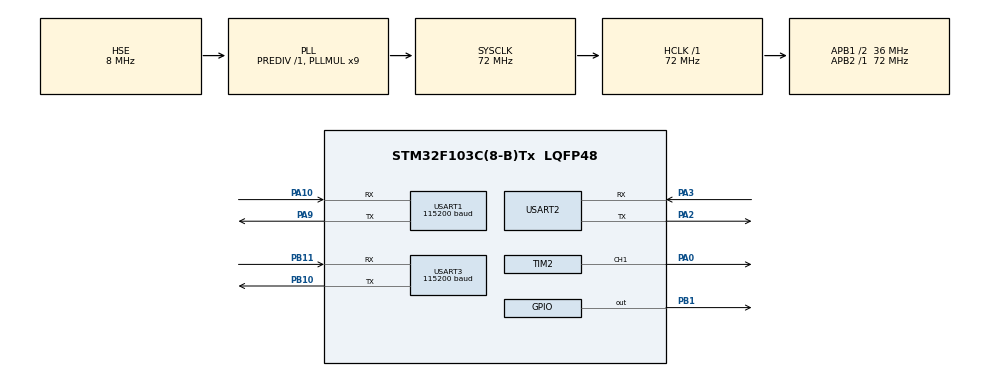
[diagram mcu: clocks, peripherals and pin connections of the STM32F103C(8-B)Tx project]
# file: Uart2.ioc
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Mcu.Family=STM32F1
Mcu.Name=STM32F103C(8-B)Tx
Mcu.Package=LQFP48
NVIC.PriorityGroup=NVIC_PRIORITYGROUP_4
NVIC.TIM2_IRQn=true\:0\:0\:false\:false\:true\:true\:true
NVIC.USART1_IRQn=true\:2\:0\:true\:false\:true\:true\:true
NVIC.USART2_IRQn=true\:3\:0\:true\:false\:true\:true\:true
NVIC.USART3_IRQn=true\:2\:0\:true\:false\:true\:true\:true
PA0-WKUP.Signal=S_TIM2_CH1_ETR
PA10.Mode=Asynchronous
PA10.Signal=USART1_RX
PA13.Mode=Serial_Wire
PA13.Signal=SYS_JTMS-SWDIO
PA14.Mode=Serial_Wire
PA14.Signal=SYS_JTCK-SWCLK
PA2.Mode=Asynchronous
PA2.Signal=USART2_TX
PA3.Mode=Asynchronous
PA3.Signal=USART2_RX
PA9.Mode=Asynchronous
PA9.Signal=USART1_TX
PB1.Signal=GPIO_Output
PB10.Mode=Asynchronous
PB10.Signal=USART3_TX
PB11.Mode=Asynchronous
PB11.Signal=USART3_RX
PD0-OSC_IN.Mode=HSE-External-Oscillator
PD0-OSC_IN.Signal=RCC_OSC_IN
PD1-OSC_OUT.Mode=HSE-External-Oscillator
PD1-OSC_OUT.Signal=RCC_OSC_OUT
ProjectManager.HeapSize=0x200
ProjectManager.StackSize=0x400
ProjectManager.TargetToolchain=MDK-ARM V5.32
RCC.AHBFreq_Value=72000000
RCC.APB1CLKDivider=RCC_HCLK_DIV2
RCC.APB1Freq_Value=36000000
RCC.APB1TimFreq_Value=72000000
RCC.APB2Freq_Value=72000000
RCC.APB2TimFreq_Value=72000000
RCC.HCLKFreq_Value=72000000
RCC.PLLMUL=RCC_PLL_MUL9
RCC.PLLSourceVirtual=RCC_PLLSOURCE_HSE
RCC.SYSCLKFreq_VALUE=72000000
RCC.SYSCLKSource=RCC_SYSCLKSOURCE_PLLCLK
RCC.USBFreq_Value=72000000
SH.S_TIM2_CH1_ETR.0=TIM2_CH1,PWM Generation1 CH1
TIM2.Channel-PWM\ Generation1\ CH1=TIM_CHANNEL_1
TIM2.OCPolarity_1=TIM_OCPOLARITY_HIGH
TIM2.Period=20000
TIM2.Prescaler=71
TIM2.TIM_MasterSlaveMode=TIM_MASTERSLAVEMODE_ENABLE
USART1.BaudRate=115200
USART1.VirtualMode=VM_ASYNC
USART2.VirtualMode=VM_ASYNC
USART3.BaudRate=115200
USART3.VirtualMode=VM_ASYNC
VP_TIM2_VS_ClockSourceINT.Mode=Internal
board=custom

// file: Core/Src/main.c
/* USER CODE BEGIN Header */
/**
  ******************************************************************************
  * @file           : main.c
  * @brief          : Main program body
  ******************************************************************************
  * @attention
  *
  * <h2><center>&copy; Copyright (c) 2021 STMicroelectronics.
  * All rights reserved.</center></h2>
  *
  * This software component is licensed by ST under BSD 3-Clause license,
  * the "License"; You may not use this file except in compliance with the
  * License. You may obtain a copy of the License at:
  *                        opensource.org/licenses/BSD-3-Clause
  *作者：王福涛   2022-01-01
  ******************************************************************************
  */
/* USER CODE END Header */
#include "main.h"
#include "tim.h"
#include "usart.h"
#include "gpio.h"

/* USER CODE BEGIN Includes */
#include <stdio.h>
#include <string.h>
#include "stm32f1xx_hal.h"
/* USER CODE END Includes */

void SystemClock_Config(void);

/* USER CODE BEGIN 0 */
char ID = 0x01;
char MAC[] =  {">MAC:[20-22-01-11-00-01]"};

char LS[8];

uint16_t CRC16; uint8_t CRCH; uint8_t CRCL;

uint8_t Uart1_RxBuff[8];
uint8_t Uart1_Rx_Length = 8;
uint8_t Uart1_Tx_Length ;

uint8_t Uart1_Rx_RST[2] = {0x01,0x06};
uint8_t Uart1_Rx_V[2] =   {0x01,0x03};
uint8_t Uart1_Rx_ITC[2] = {0x01,0x64};
uint8_t Uart1_Rx_ITI[4] = {0x01,0x65,0x00,0x00};

uint8_t Uart1_Rx_X[4] =   {0x01,0x67};
uint8_t Uart1_Rx_Xe_H[2] ={0x01,0x68};
uint8_t Uart1_Rx_Xe_L[2] ={0x01,0x69};
uint8_t Uart1_Rx_Xe_I[2] ={0x01,0x6A};
uint8_t Uart1_Rx_PXC[2]=  {0x01,0x6B};
uint8_t Uart1_Rx_PXI[2]=  {0x01,0x6C};
uint8_t Uart1_Rx_WLI[2] = {0x01,0x6D};
uint8_t Uart1_Rx_BLS[2]=  {0x01,0x6E};
uint8_t Uart1_Rx_BLI[2]=  {0x01,0x6F};
uint8_t Uart1_Rx_AVC[2] = {0x01,0x70};
uint8_t Uart1_Rx_AVI[2] = {0x01,0x71};
uint8_t Uart1_Rx_S1[2] =  {0x01,0x72};

uint8_t Uart1_Rx_XeG[8] = {0x01,0x80,0x00,0x00,0x00,0x00,0xFF,0xFF};
uint8_t Uart1_Rx_XeK[4] = {0x01,0x81,0x01};
uint8_t Uart1_Rx_XeI[2] = {0x01,0x82};

uint8_t Uart1_Rx_TEM[2] = {0x01,0x85};

uint8_t Uart1_Rx_S0[2] =  {0x01,0x86};
uint8_t Uart1_Rx_SL[2] =  {0x01,0x87};
uint8_t Uart1_Rx_SR[2] =  {0x01,0x88};

uint8_t Rx1Flag = 0;
uint8_t Rx2Flag = 0;
uint8_t Rx3Flag = 0;
char  uart1_mode = 0;
char  uart2_mode = 0;
char  uart3_mode = 0;

char  Xe_status = 0;
char  Xe_status_C = 0x00;

char  Xe_0_S = 0;
char  Xe_1_S = 1;
char  Xe_2_S = 1;

uint8_t aRxBuffer;			//??????
uint8_t Uart2_RxBuff3[3];
uint8_t Uart2_RxBuff3A[3];
uint8_t Uart2_RxBuff3B[3];
uint8_t Uart2_RxBuff3_0[3];
uint8_t Uart2_RxBuff3_1[3];
uint8_t Uart2_RxBuff3_2[3];
uint8_t Uart2_RxBuff3_3[3];
uint8_t Uart2_RxBuff3_4[3];
uint8_t Uart2_RxBuff3_5[3];
uint8_t Uart2_RxBuff4[4];
uint8_t Uart2_RxBuff4A[4];
uint8_t Uart2_RxBuff4_0[4];
uint8_t Uart2_RxBuff4_1[4];
uint8_t Uart2_RxBuff4_2[4];
uint8_t Uart2_RxBuff5[5];
uint8_t Uart2_RxBuff7[7];
uint8_t Uart2_RxBuff7_1[7];
uint8_t Uart2_RxBuff8[8];
uint8_t Uart2_RxBuff11[11];
uint8_t Uart2_RxBuff23[23];
uint8_t Uart2_RxBuff243[243];
uint8_t Uart2_RxBuff2063[2063];		//????
uint8_t Uart2_RxBuff4099[4099];
uint16_t Uart2_Rx_Length = 2063;		//??????
uint8_t Uart2_Tx_Length = 3;

//uint8_t Uart3_RxBuff22[22] = {};

char  T_uart2_RST[3] = {0x52,0xBD,0x3E};
char  T_uart2_V[3] =   {0x56,0x7E,0x3F};
char  T_uart2_ITC[7] = {0x69,0x00,0x00,};
char  T_uart2_ITI[4] = {0x3F,0x69,0x6E,0xD0};
char  T_uart2_S[3] =   {0x53,0x7D,0xFF};
char  T_uart2_X[3] =   {0x78,0x62,0xBF};
char  T_uart2_Xe_I[4] ={0x3F,0x30,0x54,0x10};
char  T_uart2_Xe[11] = {0x30};
char  T_uart2_PXC[11] ={0x50,0x00,0x03};
char  T_uart2_PXI[4] = {0x3F,0x50,0x7C,0x10};
char  T_uart2_WLI[4] = {0x3F,0x53,0x7D,0x50};
char  T_uart2_BLS[5] = {0x41,};
char  T_uart2_BLI[4] = {0x3F,0x41,0x70,0xD0};

char  T_uart2_XeK[4] = {0x31,0x01,0xE0,0xD5};

char  T_uart2_XeC0[4] ={0x31,0x00,0x20,0x14};//关氙灯
char  T_uart2_XeC1[4] ={0x31,0x01,0xE0,0xD5};//开氙灯
char  T_uart2_XeI[4] = {0x3F,0x31,0x94,0xD1};//查询氙灯

char  T_uart2_AVG[8] = {0x01,0x06,0x00,0x05,0x00,0x1E,0xFF,0xFF};

char  R_uart2_RST[3] = {0x06,0x42,0x3F};
char  R_uart2_V[3] =   {0x06,0x50,0x52};
char  R_uart2_V_T[50] ={0x01};
char  R_uart2_ITC[3] = {0x06,0x42,0x3F};
char  R_uart2_ITI[3] = {0x06,0x00,0x00};
char  R_uart2_S[4] =   {0x06,0xAA,0x55,0xBB};
char  R_uart2_X[1] =   {0x06};
char  R_uart2_Xe[3] =  {0x06,0x42,0x3F};
char  R_uart2_Xe_I[2] ={0x06,0x00};
char  R_uart2_PXC[3] = {0x06,0x42,0x3F};
char  R_uart2_PXI[1] = {0x06};
char  R_uart2_WLI[3] = {0x06,0xAA,0x55};
char  R_uart2_BLS[3] = {0x06,0x42,0x3F};
char  R_uart2_BLI[1] = {0x06};

char  R_uart2_XeG[3] = {0x06,0x42,0x3F};
char  R_uart2_XeK[3] = {0x06,0x42,0x3F};

char  R_uart2_XeI[4] = {0x06};

char  R_uart3_TEM[22] = {"Temp"};

char  R_uart2_AVG[8] = {0x01,0x06,0x00,0x05,0x00};

void PWM2200()
{
	__HAL_TIM_SET_COMPARE(&htim2,TIM_CHANNEL_1,2200);
}
void PWM1800()
{
__HAL_TIM_SET_COMPARE(&htim2,TIM_CHANNEL_1,1800);
}

uint16_t crc16(uint8_t *addr,uint8_t num);

/* USER CODE END 0 */

int main(void)
{

  /* MCU Configuration--------------------------------------------------------*/

  /* Reset of all peripherals, Initializes the Flash interface and the Systick. */
  HAL_Init();

  /* Configure the system clock */
  SystemClock_Config();

  /* Initialize all configured peripherals */
  MX_GPIO_Init();
  MX_USART2_UART_Init();
  MX_USART1_UART_Init();
  MX_TIM2_Init();
  MX_USART3_UART_Init();
  /* USER CODE BEGIN 2 */
  HAL_Delay(1000);

  HAL_UART_Receive_IT(&huart1,(uint8_t *)Uart1_RxBuff, 8);

  HAL_TIM_PWM_Start(&htim2,TIM_CHANNEL_1);

  HAL_UART_Receive_IT(&huart2,(uint8_t *)Uart2_RxBuff4, 4);
  while(1)
  {
  HAL_UART_Transmit(&huart2, (uint8_t *)T_uart2_XeI, sizeof(T_uart2_XeI),0xFFFF);
		HAL_Delay(500);

  }

 while(Rx2Flag == 0){;}
        Rx2Flag = 0;
	  if(Uart2_RxBuff4[0] == 0x06)
	  {
		  if(Uart2_RxBuff4[1] == 0)
			  Xe_status = 0;
		  else
			  Xe_status = 1;
	  }
	  memset(Uart2_RxBuff4,0,4);

  /* USER CODE END 2 */

  /* Infinite loop */
  /* USER CODE BEGIN WHILE */
  while (1)
  {
		HAL_GPIO_TogglePin(GPIOB,GPIO_PIN_1);//wft
		HAL_GPIO_TogglePin(GPIOC,GPIO_PIN_13);//wft
		HAL_Delay(100);

		if(Rx1Flag  == 1)
		{
			Rx1Flag  = 0;
			CRC16 = crc16((uint8_t *)Uart1_RxBuff, 6);
			CRCL = CRC16 & 0x00FF; 	CRCH = (CRC16 >> 8) & 0x00FF;

			if(ID == Uart1_RxBuff[0])
			{

				memcpy((char *)LS, (const char *)Uart1_RxBuff,sizeof(Uart1_RxBuff));

				Uart1_RxBuff[0] = 0x01; // 脱壳

				if(strncmp((char *)Uart1_RxBuff,(char *)Uart1_Rx_RST, 2) == 0)
				{
					uart1_mode = 1;

					HAL_UART_Transmit(&huart1, (uint8_t *)LS, sizeof(LS),0xFFFF);

					HAL_UART_Receive_IT(&huart2,(uint8_t *)Uart2_RxBuff3, 3);
					HAL_UART_Transmit(&huart2, (uint8_t *)T_uart2_RST, sizeof(T_uart2_RST),0xFFFF);	//复位光谱仪

				}
				else if(strncmp((char *)Uart1_RxBuff,(char *)Uart1_Rx_V, 2) == 0)
				{
					uart1_mode = 2;

					HAL_UART_Receive_IT(&huart2,(uint8_t *)Uart2_RxBuff23, 23);
					HAL_UART_Transmit(&huart2, (uint8_t *)T_uart2_V, sizeof(T_uart2_V),0xFFFF);

				}
				else if(strncmp((char *)Uart1_RxBuff,(char *)Uart1_Rx_ITC, 2) == 0)//积分时间设置
				{
					uart1_mode = 3;

					T_uart2_ITC[3] = Uart1_RxBuff[4];
					T_uart2_ITC[4] = Uart1_RxBuff[5];
					CRC16 = crc16((uint8_t *)T_uart2_ITC, 5); CRCL = CRC16 & 0x00FF; 	CRCH = (CRC16 >> 8) & 0x00FF;
					T_uart2_ITC[5] = CRCH, T_uart2_ITC[6] = CRCL;

					HAL_UART_Receive_IT(&huart2,(uint8_t *)Uart2_RxBuff3_0, 3);
					HAL_UART_Transmit(&huart2, (uint8_t *)T_uart2_ITC, sizeof(T_uart2_ITC),0xFFFF);

				}
				else if(strncmp((char *)Uart1_RxBuff,(char *)Uart1_Rx_ITI,2) == 0)//积分时间查询
				{
					uart1_mode = 4;

					HAL_UART_Receive_IT(&huart2,(uint8_t *)Uart2_RxBuff7, 7);
					HAL_UART_Transmit(&huart2, (uint8_t *)T_uart2_ITI, sizeof(T_uart2_ITI),0xFFFF);

				}
/*				else if(strstr((char *)Uart1_RxBuff,(char *)T_uart2_AVG) != NULL)
				{
					uart1_mode = 5;

					HAL_UART_Receive_IT(&huart2,(uint8_t *)Uart2_RxBuff8, 8);
					HAL_UART_Transmit(&huart2, (uint8_t *)T_uart2_AVG, sizeof(T_uart2_AVG),0xFFFF);

				}	*/
				else if(strstr((char *)Uart1_RxBuff,(char *)Uart1_Rx_X) != NULL)
				{
					uart1_mode = 11;

					HAL_UART_Receive_IT(&huart2,(uint8_t *)Uart2_RxBuff243, 243);
					HAL_UART_Transmit(&huart2, (uint8_t *)T_uart2_X, sizeof(T_uart2_X),0xFFFF);

				}
				else if(strncmp((char *)Uart1_RxBuff,(char *)Uart1_Rx_Xe_H, 2) == 0)
				{
					uart1_mode = 12;

					T_uart2_Xe[1] = Uart1_RxBuff[2]; T_uart2_Xe[2] = Uart1_RxBuff[3]; T_uart2_Xe[3] = Uart1_RxBuff[4];
					T_uart2_Xe[4] = Uart1_RxBuff[5];

				}
				else if(strncmp((char *)Uart1_RxBuff,(char *)Uart1_Rx_Xe_L, 2) == 0)
				{
					uart1_mode = 12;

					T_uart2_Xe[5] = Uart1_RxBuff[2]; T_uart2_Xe[6] = Uart1_RxBuff[3]; T_uart2_Xe[7] = Uart1_RxBuff[4];
					T_uart2_Xe[8] = Uart1_RxBuff[5];

					CRC16 = crc16((uint8_t *)T_uart2_Xe, 9);
					CRCL = CRC16 & 0x00FF; 	CRCH = (CRC16 >> 8) & 0x00FF;
					T_uart2_Xe[9] = CRCH; T_uart2_Xe[10] = CRCL;

					HAL_UART_Receive_IT(&huart2,(uint8_t *)Uart2_RxBuff3_1, 3);
					HAL_UART_Transmit(&huart2, (uint8_t *)T_uart2_Xe, sizeof(T_uart2_Xe),0xFFFF);

				}
				else if(strncmp((char *)Uart1_RxBuff,(char *)Uart1_Rx_Xe_I, 2) == 0)
				{
					uart1_mode = 13;

					HAL_UART_Receive_IT(&huart2,(uint8_t *)Uart2_RxBuff11, 11);
					HAL_UART_Transmit(&huart2, (uint8_t *)T_uart2_Xe_I, sizeof(T_uart2_Xe_I),0xFFFF);

				}
				else if(strncmp((char *)Uart1_RxBuff,(char *)Uart1_Rx_PXC, 2) == 0)
				{
					uart1_mode = 14;

					T_uart2_PXC[3] = Uart1_RxBuff[2]; T_uart2_PXC[4] = Uart1_RxBuff[3]; T_uart2_PXC[5] = Uart1_RxBuff[4];
					T_uart2_PXC[6] = Uart1_RxBuff[5]; T_uart2_PXC[7] = 0x00; T_uart2_PXC[8] = 0x01;//T_uart2_PXC[9] = 0x47; T_uart2_PXC[10] = 0x34;
					CRC16 = crc16((uint8_t *)T_uart2_PXC, 9); CRCL = CRC16 & 0x00FF; 	CRCH = (CRC16 >> 8) & 0x00FF;
					T_uart2_PXC[9] = CRCH; T_uart2_PXC[10] = CRCL;
					HAL_UART_Receive_IT(&huart2,(uint8_t *)Uart2_RxBuff3_5, 3);
					HAL_UART_Transmit(&huart2, (uint8_t *)T_uart2_PXC, sizeof(T_uart2_PXC),0xFFFF);

				}
				else if(strncmp((char *)Uart1_RxBuff,(char *)Uart1_Rx_PXI, 2) == 0)
				{
					uart1_mode = 15;

					HAL_UART_Receive_IT(&huart2,(uint8_t *)Uart2_RxBuff7_1, 7);
					HAL_UART_Transmit(&huart2, (uint8_t *)T_uart2_PXI, sizeof(T_uart2_PXI),0xFFFF);

				}
				else if(strncmp((char *)Uart1_RxBuff,(char *)Uart1_Rx_WLI, 2) == 0)
				{
					uart1_mode = 16;

					HAL_UART_Receive_IT(&huart2,(uint8_t *)Uart2_RxBuff4099, 4099);
					HAL_UART_Transmit(&huart2, (uint8_t *)T_uart2_WLI, sizeof(T_uart2_WLI),0xFFFF);

				}
				else if(strncmp((char *)Uart1_RxBuff,(char *)Uart1_Rx_BLS, 2) == 0)
				{
					uart1_mode = 17;

					T_uart2_BLS[1] = Uart1_RxBuff[2]; T_uart2_BLS[2] = Uart1_RxBuff[3];
					CRC16 = crc16((uint8_t *)T_uart2_BLS, 3);
					CRCL = CRC16 & 0x00FF; 	CRCH = (CRC16 >> 8) & 0x00FF;
					T_uart2_BLS[3] = CRCH; T_uart2_BLS[4] = CRCL;
					HAL_UART_Receive_IT(&huart2,(uint8_t *)Uart2_RxBuff3_2, 3);
					HAL_UART_Transmit(&huart2, (uint8_t *)T_uart2_BLS, sizeof(T_uart2_BLS),0xFFFF);

				}
				else if(strncmp((char *)Uart1_RxBuff,(char *)Uart1_Rx_BLI, 2) == 0)
				{
					uart1_mode = 18;

					HAL_UART_Receive_IT(&huart2,(uint8_t *)Uart2_RxBuff5, 5);
					HAL_UART_Transmit(&huart2, (uint8_t *)T_uart2_BLI, sizeof(T_uart2_BLI),0xFFFF);

				}
				else if(strncmp((char *)Uart1_RxBuff,(char *)Uart1_Rx_XeG, 2) == 0)//*****************************************
				{
					uart1_mode = 20;

					HAL_UART_Receive_IT(&huart2,(uint8_t *)Uart2_RxBuff3A, 3);
					HAL_UART_Transmit(&huart2, (uint8_t *)T_uart2_XeC0, sizeof(T_uart2_XeC0),0xFFFF);

				}
				else if(strncmp((char *)Uart1_RxBuff,(char *)Uart1_Rx_XeK, 2) == 0)//*****************************************
				{
					uart1_mode = 21;

					HAL_UART_Receive_IT(&huart2,(uint8_t *)Uart2_RxBuff3B, 3);
					HAL_UART_Transmit(&huart2, (uint8_t *)T_uart2_XeC1, sizeof(T_uart2_XeC1),0xFFFF);

				}
				else if(strncmp((char *)Uart1_RxBuff,(char *)Uart1_Rx_XeI, 2) == 0)//*****************************************
				{
					uart1_mode = 22;

					HAL_UART_Receive_IT(&huart2,(uint8_t *)Uart2_RxBuff4A, 4);
					HAL_UART_Transmit(&huart2, (uint8_t *)T_uart2_XeI, sizeof(T_uart2_XeI),0xFFFF);

				}
				else if(strncmp((char *)Uart1_RxBuff,(char *)Uart1_Rx_S0, 2) == 0)
				{
					uart1_mode = 32;
					Xe_0_S = 1;
//	CRC16 = crc16((uint8_t *)XeC, 2);
//	CRCL = CRC16 & 0x00FF; 	CRCH = (CRC16 >> 8) & 0x00FF;
					if(Xe_status == 1)
					{

						HAL_UART_Receive_IT(&huart2,(uint8_t *)Uart2_RxBuff3A, 3);
					    HAL_UART_Transmit(&huart2, (uint8_t *)T_uart2_XeC0, sizeof(T_uart2_XeC0),0xFFFF);
						//HAL_UART_Receive_IT(&huart2,(uint8_t *)Uart2_RxBuff4_0, 4);
						//HAL_UART_Transmit(&huart2, (uint8_t *)T_uart2_XeC0, sizeof(T_uart2_XeC0),0xFFFF);//关闭氙灯

					}

				}
				else if(strncmp((char *)Uart1_RxBuff,(char *)Uart1_Rx_SL, 2) == 0)
				{
					uart1_mode = 33;

					PWM2200();
					HAL_Delay(500);

					Xe_1_S = 1;
					if(Xe_status == 0)
					{
						HAL_UART_Receive_IT(&huart2,(uint8_t *)Uart2_RxBuff3B, 3);
						HAL_UART_Transmit(&huart2, (uint8_t *)T_uart2_XeC1, sizeof(T_uart2_XeC1),0xFFFF);
					}

				}
				else if(strncmp((char *)Uart1_RxBuff,(char *)Uart1_Rx_SR, 2) == 0)
				{
					uart1_mode = 34;

					PWM1800();
					HAL_Delay(500);
//	CRC16 = crc16((uint8_t *)XeC, 2);
//	CRCL = CRC16 & 0x00FF; 	CRCH = (CRC16 >> 8) & 0x00FF;
					Xe_1_S = 1;
					if(Xe_status == 0)
					{
						HAL_UART_Receive_IT(&huart2,(uint8_t *)Uart2_RxBuff3B, 3);
						HAL_UART_Transmit(&huart2, (uint8_t *)T_uart2_XeC1, sizeof(T_uart2_XeC1),0xFFFF);
					}

				}

/*				else if(strncmp((char *)Uart1_RxBuff,(char *)Uart1_Rx_TEM, 2) == 0)//    *****************************************
				{
					uart1_mode = 25;

					HAL_UART_Receive_IT(&huart3,(uint8_t *)Uart3_RxBuff22, 22);

				}*/
			}

		}
		else  if(Rx2Flag  == 1)
			{
				Rx2Flag  = 0;
				if(strncmp((char *)Uart2_RxBuff3,(char *)R_uart2_RST, 3) == 0)
				{
					uart2_mode = 1;

					LS[4] = 'O'; LS[5] = 'K';
					CRC16 = crc16((uint8_t *)LS, 2);
					CRCL = CRC16 & 0x00FF; 	CRCH = (CRC16 >> 8) & 0x00FF;
					LS[7] = CRCH; LS[6] = CRCL;
					HAL_UART_Transmit(&huart1, (uint8_t *)LS, sizeof(LS),0xFFFF);
					HAL_Delay(2000);
				}
				else	if(strncmp((char *)Uart2_RxBuff23,(char *)R_uart2_V, 3) == 0)
						{
							uart2_mode = 2;

							R_uart2_V_T[0] = ID; strcat((char *)R_uart2_V_T, (char *)Uart2_RxBuff23); R_uart2_V_T[1] = 0x03;
							strcat((char *)R_uart2_V_T, (char *)MAC);
							HAL_UART_Transmit(&huart1, (uint8_t *)R_uart2_V_T, sizeof(R_uart2_V_T),0xFFFF);
							//HAL_UART_Transmit(&huart1, (uint8_t *)MAC, sizeof(MAC),0xFFFF);
						}
				else	if(strncmp((char *)Uart2_RxBuff3_0,(char *)R_uart2_ITC, 3) == 0)
						{
							uart2_mode = 3;

							HAL_UART_Transmit(&huart1, (uint8_t *)LS, sizeof(LS),0xFFFF);

						}
				else	if(strstr((char *)Uart2_RxBuff7,(char *)R_uart2_ITI) != NULL)
						{
							uart2_mode = 4;

							LS[4] = Uart2_RxBuff7[3]; LS[5] = Uart2_RxBuff7[4];
							HAL_UART_Transmit(&huart1, (uint8_t *)LS, sizeof(LS),0xFFFF);

						}
				else	if(strncmp((char *)Uart2_RxBuff243,(char *)R_uart2_X, 1) == 0)
										{
											uart2_mode = 11;

											Uart2_RxBuff243[0] = ID;
											HAL_UART_Transmit(&huart1, (uint8_t *)Uart2_RxBuff243, sizeof(Uart2_RxBuff243),0xFFFF);

										}
				else	if(strncmp((char *)Uart2_RxBuff3_1,(char *)R_uart2_Xe, 3) == 0)
										{
											uart2_mode = 12;

											T_uart2_Xe[0] = ID;
											HAL_UART_Transmit(&huart1, (uint8_t *)T_uart2_Xe, sizeof(T_uart2_Xe),0xFFFF);
T_uart2_Xe[0] = ID;
										}
				else	if(strncmp((char *)Uart2_RxBuff11,(char *)R_uart2_Xe_I, 2) == 0)
										{
											uart2_mode = 13;

											Uart2_RxBuff11[0] = ID;
											HAL_UART_Transmit(&huart1, (uint8_t *)Uart2_RxBuff11, sizeof(Uart2_RxBuff11),0xFFFF);

										}
				else	if(strncmp((char *)Uart2_RxBuff3_5,(char *)R_uart2_PXC, 3) == 0)
										{
											uart2_mode = 14;

											LS[0] = ID;
											HAL_UART_Transmit(&huart1, (uint8_t *)LS, sizeof(LS),0xFFFF);

										}
				else	if(strncmp((char *)Uart2_RxBuff7_1,(char *)R_uart2_PXI, 1) == 0)
										{
											uart2_mode = 15;

											Uart2_RxBuff7_1[0] = ID;
											HAL_UART_Transmit(&huart1, (uint8_t *)Uart2_RxBuff7_1, sizeof(Uart2_RxBuff7_1),0xFFFF);

										}
				else	if(strncmp((char *)Uart2_RxBuff4099,(char *)R_uart2_WLI, 3) == 0)
										{
											uart2_mode = 16;

											Uart2_RxBuff4099[0] = ID;
											HAL_UART_Transmit(&huart1, (uint8_t *)Uart2_RxBuff4099, sizeof(Uart2_RxBuff4099),0xFFFF);

										}
				else	if(strncmp((char *)Uart2_RxBuff3_2,(char *)R_uart2_BLS, 1) == 0)
										{
											uart2_mode = 17;

											HAL_UART_Transmit(&huart1, (uint8_t *)LS, sizeof(LS),0xFFFF);
										}
				else	if(strncmp((char *)Uart2_RxBuff5,(char *)R_uart2_BLI, 1) == 0)
										{
											uart2_mode = 18;
											LS[4] = Uart2_RxBuff5[1]; LS[5] = Uart2_RxBuff5[2];
											HAL_UART_Transmit(&huart1, (uint8_t *)LS, sizeof(LS),0xFFFF);
										}
				else	if(strncmp((char *)Uart2_RxBuff3A,(char *)R_uart2_XeG, 3) == 0)
										{
											uart2_mode = 20;

											Xe_status = 0;
											//LS[4] = Uart2_RxBuff5[1]; LS[5] = Uart2_RxBuff5[2];
											HAL_UART_Transmit(&huart1, (uint8_t *)LS, sizeof(LS),0xFFFF);
										}
				else	if(strncmp((char *)Uart2_RxBuff3B,(char *)R_uart2_XeK, 3) == 0)
										{
											uart2_mode = 21;

											Xe_status = 1;
											//LS[4] = Uart2_RxBuff5[1]; LS[5] = Uart2_RxBuff5[2];
											HAL_UART_Transmit(&huart1, (uint8_t *)LS, sizeof(LS),0xFFFF);
										}
				else	if(strncmp((char *)Uart2_RxBuff4A,(char *)R_uart2_XeI, 1) == 0)
										{
											uart2_mode = 22;

											Uart2_RxBuff4A[0] = ID;
											HAL_UART_Transmit(&huart1, (uint8_t *)Uart2_RxBuff4A, sizeof(Uart2_RxBuff4A),0xFFFF);
										}
				else	if(strncmp((char *)Uart2_RxBuff4_1,(char *)R_uart2_XeI, 1) == 0)
										{
											uart2_mode = 33;

											if(Uart2_RxBuff4_1[1] != 0x00)
											Xe_status = 1;
											else
											Xe_status = 0;
											memset(Uart2_RxBuff4_1,0,4);
										}
				else	if(strncmp((char *)Uart2_RxBuff4_2,(char *)R_uart2_XeI, 1) == 0)
										{
											if(Uart2_RxBuff4_2[1] != 0)
											Xe_status = 1;
											else
											Xe_status = 0;
											memset(Uart2_RxBuff4_2,0,4);
										}
				else	if(strncmp((char *)Uart2_RxBuff2063,(char *)R_uart2_S, 4) == 0)
										{
											uart2_mode = 32;

											Uart2_RxBuff2063[0] = ID;
											HAL_UART_Transmit(&huart1, (uint8_t *)Uart2_RxBuff2063, sizeof(Uart2_RxBuff2063),0xFFFF);

										}

			}
/*		else  if(Rx3Flag  == 1)
			{
				Rx3Flag = 0;
				if(strncmp((char *)Uart3_RxBuff22,(char *)R_uart3_TEM, 1) == 0)
				{
					uart2_mode = 25;

					LS[4] = 'O'; LS[5] = 'K';
					CRC16 = crc16((uint8_t *)LS, 2);
					CRCL = CRC16 & 0x00FF; 	CRCH = (CRC16 >> 8) & 0x00FF;
					LS[7] = CRCH; LS[6] = CRCL;
					HAL_UART_Transmit(&huart1, (uint8_t *)LS, sizeof(LS),0xFFFF);
				}

			}*/

		else if(Xe_0_S == 1)//*****************************************
			{
				Xe_0_S = 0;
				if(Xe_status == 0)
				{
					HAL_UART_Receive_IT(&huart2,(uint8_t *)Uart2_RxBuff2063, 2063);
					HAL_UART_Transmit(&huart2, (uint8_t *)T_uart2_S, sizeof(T_uart2_S),0xFFFF);
				}
			}
		else if(Xe_1_S == 1)//*****************************************
			{
				Xe_1_S = 0;
				if(Xe_status == 1)
				{
					HAL_UART_Receive_IT(&huart2,(uint8_t *)Uart2_RxBuff2063, 2063);
					HAL_UART_Transmit(&huart2, (uint8_t *)T_uart2_S, sizeof(T_uart2_S),0xFFFF);
				}
			}

		HAL_GPIO_TogglePin(GPIOB,GPIO_PIN_1);//wft
		HAL_GPIO_TogglePin(GPIOC,GPIO_PIN_13);//wft

		HAL_Delay(100);

		switch(uart1_mode)
		{
			case 1:{  	HAL_UART_Receive_IT(&huart1,(uint8_t *)Uart1_RxBuff, 8);
						uart1_mode = 0; memset(Uart1_RxBuff,0,8); break;}

			case 2:{	HAL_UART_Receive_IT(&huart1,(uint8_t *)Uart1_RxBuff, 8);
						uart1_mode = 0; memset(Uart1_RxBuff,0,8); break;}

			case 3:{	HAL_UART_Receive_IT(&huart1,(uint8_t *)Uart1_RxBuff, 8);
						uart1_mode = 0; memset(Uart1_RxBuff,0,8); 	break;}

			case 4:{	HAL_UART_Receive_IT(&huart1,(uint8_t *)Uart1_RxBuff, 8);
						uart1_mode = 0; memset(Uart1_RxBuff,0,8); 	break;}

			case 8:{	HAL_UART_Receive_IT(&huart1,(uint8_t *)Uart1_RxBuff, 8);
						uart1_mode = 0; memset(Uart1_RxBuff,0,8);   break;}

			case 9:{	HAL_UART_Receive_IT(&huart1,(uint8_t *)Uart1_RxBuff, 8);
						uart1_mode = 0; memset(Uart1_RxBuff,0,8);   break;}
			case 10:{	HAL_UART_Receive_IT(&huart1,(uint8_t *)Uart1_RxBuff, 8);
						 memset(Uart1_RxBuff,0,8);   break;}
			case 11:{	HAL_UART_Receive_IT(&huart1,(uint8_t *)Uart1_RxBuff, 8);
						uart1_mode = 0; memset(Uart1_RxBuff,0,8); 	break;}
			case 12:{	HAL_UART_Receive_IT(&huart1,(uint8_t *)Uart1_RxBuff, 8);
						uart1_mode = 0; memset(Uart1_RxBuff,0,8); 	break;}
			case 13:{	HAL_UART_Receive_IT(&huart1,(uint8_t *)Uart1_RxBuff, 8);
						uart1_mode = 0; memset(Uart1_RxBuff,0,8); 	break;}
			case 14:{	HAL_UART_Receive_IT(&huart1,(uint8_t *)Uart1_RxBuff, 8);
						uart1_mode = 0; memset(Uart1_RxBuff,0,8); 	break;}
			case 15:{	HAL_UART_Receive_IT(&huart1,(uint8_t *)Uart1_RxBuff, 8);
						uart1_mode = 0; memset(Uart1_RxBuff,0,8); 	break;}
			case 16:{	HAL_UART_Receive_IT(&huart1,(uint8_t *)Uart1_RxBuff, 8);
						uart1_mode = 0; memset(Uart1_RxBuff,0,8); 	break;}
			case 17:{	HAL_UART_Receive_IT(&huart1,(uint8_t *)Uart1_RxBuff, 8);
						uart1_mode = 0; memset(Uart1_RxBuff,0,8); 	break;}
			case 18:{	HAL_UART_Receive_IT(&huart1,(uint8_t *)Uart1_RxBuff, 8);
						uart1_mode = 0; memset(Uart1_RxBuff,0,8); 	break;}

			case 20:{	HAL_UART_Receive_IT(&huart1,(uint8_t *)Uart1_RxBuff, 8);
				        uart1_mode = 0; memset(Uart1_RxBuff,0,8); 	break;}
			case 21:{	HAL_UART_Receive_IT(&huart1,(uint8_t *)Uart1_RxBuff, 8);
						uart1_mode = 0; memset(Uart1_RxBuff,0,8); 	break;}
			case 22:{	HAL_UART_Receive_IT(&huart1,(uint8_t *)Uart1_RxBuff, 8);
						uart1_mode = 0; memset(Uart1_RxBuff,0,8); 	break;}
			case 25:{	HAL_UART_Receive_IT(&huart1,(uint8_t *)Uart1_RxBuff, 8);
						uart1_mode = 0; memset(Uart1_RxBuff,0,8); 	break;}
			case 32:{	HAL_UART_Receive_IT(&huart1,(uint8_t *)Uart1_RxBuff, 8);
						uart1_mode = 0; memset(Uart1_RxBuff,0,8); 	break;}
			case 33:{	HAL_UART_Receive_IT(&huart1,(uint8_t *)Uart1_RxBuff, 8);
						uart1_mode = 0; memset(Uart1_RxBuff,0,8); 	break;}
			case 34:{	HAL_UART_Receive_IT(&huart1,(uint8_t *)Uart1_RxBuff, 8);
						uart1_mode = 0; memset(Uart1_RxBuff,0,8); 	break;}

						default:  ;
		}

		switch(uart2_mode)
		{
			case 1:{	uart2_mode = 0; memset(Uart2_RxBuff3,0,3);break;}
			case 2:{	uart2_mode = 0; memset(Uart2_RxBuff23,0,23); memset(R_uart2_V_T,0,50);break;}
			case 3:{	uart2_mode = 0; memset(Uart2_RxBuff3_0,0,3);break;}
			case 4:{	uart2_mode = 0; memset(Uart2_RxBuff7,0,7);break;}

			case 9:{	uart2_mode = 0; memset(Uart2_RxBuff2063,0,2063);break;}
			case 10:{	uart2_mode = 0; memset(Uart2_RxBuff2063,0,2063);break;}
			case 11:{	uart2_mode = 0; memset(Uart2_RxBuff243,0,243);break;}
			case 12:{	uart2_mode = 0; memset(Uart2_RxBuff3_1,0,3);break;}
			case 13:{	uart2_mode = 0; memset(Uart2_RxBuff11,0,11);break;}
			case 14:{	uart2_mode = 0; memset(Uart2_RxBuff3_5,0,3);break;}
			case 15:{	uart2_mode = 0; memset(Uart2_RxBuff3,0,3);break;}
			case 16:{	uart2_mode = 0; memset(Uart2_RxBuff4099,0,9);break;}
			case 17:{	uart2_mode = 0; memset(Uart2_RxBuff3_2,0,3);break;}
			case 18:{	uart2_mode = 0; memset(Uart2_RxBuff5,0,5);break;}

            case 20:{	uart2_mode = 0; memset(Uart2_RxBuff3A,0,3);break;}
			case 21:{	uart2_mode = 0; memset(Uart2_RxBuff3B,0,3);break;}
			case 22:{	uart2_mode = 0; memset(Uart2_RxBuff4A,0,4);break;}

			case 32:{	uart2_mode = 0; memset(Uart2_RxBuff2063,0,9);break;}

			default:;

		}

	}
}
    /* USER CODE END WHILE */

    /* USER CODE BEGIN 3 */
//CRC-16码（modbus）校验
//addr：需要校验的字节数组
//num：需要校验的字节数
//返回值：16位的CRC校验码
uint16_t crc16(uint8_t *addr,uint8_t num)
{
	uint16_t  i,j,temp;
	uint16_t  crc=0xFFFF;
	for(i=0;i<num;i++)
	{
		crc=crc^(*addr);
		for(j=0;j<8;j++)
		{
			temp=crc&0x0001;
			crc=crc>>1;
			if(temp)
			{
				crc=crc^0xA001;
			}
		}
		addr++;
	}
	return crc;

  /* USER CODE END 3 */
}

void SystemClock_Config(void)
{
  RCC_OscInitTypeDef RCC_OscInitStruct = {0};
  RCC_ClkInitTypeDef RCC_ClkInitStruct = {0};

  /** Initializes the RCC Oscillators according to the specified parameters
  * in the RCC_OscInitTypeDef structure.
  */
  RCC_OscInitStruct.OscillatorType = RCC_OSCILLATORTYPE_HSE;
  RCC_OscInitStruct.HSEState = RCC_HSE_ON;
  RCC_OscInitStruct.HSEPredivValue = RCC_HSE_PREDIV_DIV1;
  RCC_OscInitStruct.HSIState = RCC_HSI_ON;
  RCC_OscInitStruct.PLL.PLLState = RCC_PLL_ON;
  RCC_OscInitStruct.PLL.PLLSource = RCC_PLLSOURCE_HSE;
  RCC_OscInitStruct.PLL.PLLMUL = RCC_PLL_MUL9;
  if (HAL_RCC_OscConfig(&RCC_OscInitStruct) != HAL_OK)
  {
    Error_Handler();
  }
  /** Initializes the CPU, AHB and APB buses clocks
  */
  RCC_ClkInitStruct.ClockType = RCC_CLOCKTYPE_HCLK|RCC_CLOCKTYPE_SYSCLK
                              |RCC_CLOCKTYPE_PCLK1|RCC_CLOCKTYPE_PCLK2;
  RCC_ClkInitStruct.SYSCLKSource = RCC_SYSCLKSOURCE_PLLCLK;
  RCC_ClkInitStruct.AHBCLKDivider = RCC_SYSCLK_DIV1;
  RCC_ClkInitStruct.APB1CLKDivider = RCC_HCLK_DIV2;
  RCC_ClkInitStruct.APB2CLKDivider = RCC_HCLK_DIV1;

  if (HAL_RCC_ClockConfig(&RCC_ClkInitStruct, FLASH_LATENCY_2) != HAL_OK)
  {
    Error_Handler();
  }
}

/* USER CODE BEGIN 4 */
void HAL_UART_RxCpltCallback(UART_HandleTypeDef *huart)
{
		if(huart->Instance == USART1)
			{
				Rx1Flag = 1;
				HAL_UART_Receive_IT(&huart1,(uint8_t *)Uart1_RxBuff, 8);
			}
			else	if(huart->Instance == USART2)
					{
						Rx2Flag  = 1;
					 }
			else	if(huart->Instance == USART3)
//					{
						Rx3Flag  = 1;
//					 }
}

/* USER CODE END 4 */

void Error_Handler(void)
{
  __disable_irq();
  while (1)
  {
  }
}

/************************ (C) COPYRIGHT STMicroelectronics *****END OF FILE****/
